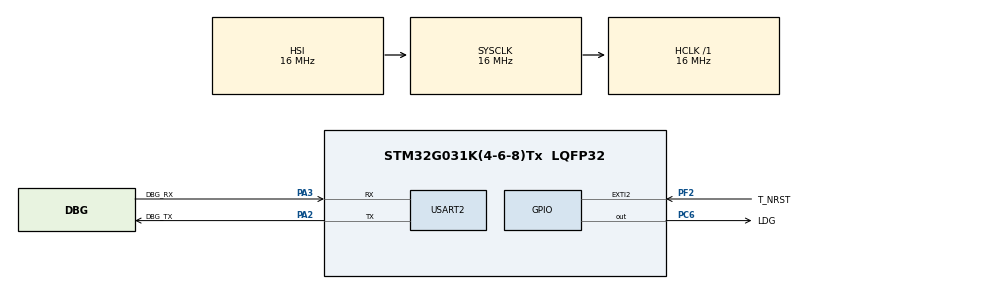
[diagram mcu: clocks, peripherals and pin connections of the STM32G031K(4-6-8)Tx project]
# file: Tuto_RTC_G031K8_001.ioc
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Mcu.Family=STM32G0
Mcu.Name=STM32G031K(4-6-8)Tx
Mcu.Package=LQFP32
NVIC.RTC_TAMP_IRQn=true\:0\:0\:false\:false\:true\:true\:true\:true
PA13.GPIO_Label=T_JTMS
PA13.Mode=Serial_Wire
PA13.Signal=SYS_SWDIO
PA14-BOOT0.GPIO_Label=T_JTCK
PA14-BOOT0.Mode=Serial_Wire
PA14-BOOT0.Signal=SYS_SWCLK
PA2.GPIO_Label=DBG_TX
PA2.GPIO_PuPd=GPIO_PULLUP
PA2.Mode=Asynchronous
PA2.Signal=USART2_TX
PA3.GPIO_Label=DBG_RX
PA3.GPIO_PuPd=GPIO_PULLUP
PA3.Mode=Asynchronous
PA3.Signal=USART2_RX
PC14-OSC32_IN\ (PC14).Mode=LSE-External-Oscillator
PC14-OSC32_IN\ (PC14).Signal=RCC_OSC32_IN
PC15-OSC32_OUT\ (PC15).Mode=LSE-External-Oscillator
PC15-OSC32_OUT\ (PC15).Signal=RCC_OSC32_OUT
PC6.GPIO_Label=LDG
PC6.Signal=GPIO_Output
PF2\ -\ NRST.GPIO_Label=T_NRST
PF2\ -\ NRST.Signal=GPXTI2
ProjectManager.HeapSize=0x200
ProjectManager.StackSize=0x400
ProjectManager.TargetToolchain=STM32CubeIDE
RCC.AHBFreq_Value=16000000
RCC.CortexFreq_Value=16000000
RCC.EXTERNAL_CLOCK_VALUE=12288000
RCC.HCLKFreq_Value=16000000
RCC.HSE_VALUE=8000000
RCC.HSI_VALUE=16000000
RCC.RTCClockSelection=RCC_RTCCLKSOURCE_LSE
RCC.SYSCLKFreq_VALUE=16000000
RCC.VCOOutputFreq_Value=128000000
RTC.Alarm-Alarm\ A=RTC_ALARM_A
RTC.AlarmDateWeekDay-Alarm\ A=1
RTC.Format=RTC_FORMAT_BIN
RTC.Seconds_A-Alarm\ A=10
RTC.WeekDay=RTC_WEEKDAY_SATURDAY
USART2.VirtualMode-Asynchronous=VM_ASYNC
USART2.WordLength=WORDLENGTH_8B
VP_RTC_VS_RTC_Activate.Mode=RTC_Enabled
VP_RTC_VS_RTC_Alarm_A_Intern.Mode=Alarm A
VP_RTC_VS_RTC_Calendar.Mode=RTC_Calendar
board=NUCLEO-G031K8

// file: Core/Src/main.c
/* USER CODE BEGIN Header */
/**
  ******************************************************************************
  * @file           : main.c
  * @brief          : Main program body
  ******************************************************************************
  * @attention
  *
  * Copyright (c) 2023 STMicroelectronics.
  * All rights reserved.
  *
  * This software is licensed under terms that can be found in the LICENSE file
  * in the root directory of this software component.
  * If no LICENSE file comes with this software, it is provided AS-IS.
  *
  ******************************************************************************
  */
/* USER CODE END Header */
#include "main.h"

RTC_HandleTypeDef hrtc;

UART_HandleTypeDef huart2;

/* USER CODE BEGIN PV */
char* 		hello = "\nHello Tuto_RTC_G031k8_001\n\n" ;
char		rtc_dt_s[20] ;
RTC_AlarmTypeDef	b ;
/* USER CODE END PV */

void SystemClock_Config(void);
static void MX_GPIO_Init(void);
static void MX_USART2_UART_Init(void);
static void MX_RTC_Init(void);
/* USER CODE BEGIN PFP */
bool  RTC_AlarmConfig ( void ) ;

/* USER CODE END PFP */

int main(void)
{

  /* MCU Configuration--------------------------------------------------------*/

  /* Reset of all peripherals, Initializes the Flash interface and the Systick. */
  HAL_Init();

  /* Configure the system clock */
  SystemClock_Config();

  /* Initialize all configured peripherals */
  MX_GPIO_Init();
  MX_USART2_UART_Init();
  MX_RTC_Init();
  /* USER CODE BEGIN 2 */
  // System hello
  HAL_UART_Transmit ( HUART_DBG , (uint8_t*) hello , strlen (hello) , UART_TIMEOUT ) ;

  HAL_Delay ( 1010 ) ; // just to be sure that RC is ticking

  my_rtc_get_dt_s ( rtc_dt_s ) ;
  send_debug_logs ( rtc_dt_s ) ;

  if ( my_rtc_set_alarm ( 30 ) )
  {
	  HAL_SuspendTick () ;
	  HAL_PWR_EnterSTOPMode ( PWR_MAINREGULATOR_ON , PWR_STOPENTRY_WFE ) ;
	  HAL_ResumeTick () ;

	  my_rtc_get_dt_s ( rtc_dt_s ) ;
	  send_debug_logs ( rtc_dt_s ) ;

	  send_debug_logs ( "Dupa" ) ;

	  my_rtc_get_dt_s ( rtc_dt_s ) ;
	  send_debug_logs ( rtc_dt_s ) ;
  }

  /* USER CODE END 2 */

  /* Infinite loop */
  while (1)
  {

  }
}

void SystemClock_Config(void)
{
  RCC_OscInitTypeDef RCC_OscInitStruct = {0};
  RCC_ClkInitTypeDef RCC_ClkInitStruct = {0};

  /** Configure the main internal regulator output voltage
  */
  HAL_PWREx_ControlVoltageScaling(PWR_REGULATOR_VOLTAGE_SCALE1);

  /** Configure LSE Drive Capability
  */
  HAL_PWR_EnableBkUpAccess();
  __HAL_RCC_LSEDRIVE_CONFIG(RCC_LSEDRIVE_LOW);

  /** Initializes the RCC Oscillators according to the specified parameters
  * in the RCC_OscInitTypeDef structure.
  */
  RCC_OscInitStruct.OscillatorType = RCC_OSCILLATORTYPE_HSI|RCC_OSCILLATORTYPE_LSE;
  RCC_OscInitStruct.LSEState = RCC_LSE_ON;
  RCC_OscInitStruct.HSIState = RCC_HSI_ON;
  RCC_OscInitStruct.HSIDiv = RCC_HSI_DIV1;
  RCC_OscInitStruct.HSICalibrationValue = RCC_HSICALIBRATION_DEFAULT;
  RCC_OscInitStruct.PLL.PLLState = RCC_PLL_NONE;
  if (HAL_RCC_OscConfig(&RCC_OscInitStruct) != HAL_OK)
  {
    Error_Handler();
  }

  /** Initializes the CPU, AHB and APB buses clocks
  */
  RCC_ClkInitStruct.ClockType = RCC_CLOCKTYPE_HCLK|RCC_CLOCKTYPE_SYSCLK
                              |RCC_CLOCKTYPE_PCLK1;
  RCC_ClkInitStruct.SYSCLKSource = RCC_SYSCLKSOURCE_HSI;
  RCC_ClkInitStruct.AHBCLKDivider = RCC_SYSCLK_DIV1;
  RCC_ClkInitStruct.APB1CLKDivider = RCC_HCLK_DIV1;

  if (HAL_RCC_ClockConfig(&RCC_ClkInitStruct, FLASH_LATENCY_0) != HAL_OK)
  {
    Error_Handler();
  }
}

static void MX_RTC_Init(void)
{

  RTC_TimeTypeDef sTime = {0};
  RTC_DateTypeDef sDate = {0};
  RTC_AlarmTypeDef sAlarm = {0};

  /** Initialize RTC Only
  */
  hrtc.Instance = RTC;
  hrtc.Init.HourFormat = RTC_HOURFORMAT_24;
  hrtc.Init.AsynchPrediv = 127;
  hrtc.Init.SynchPrediv = 255;
  hrtc.Init.OutPut = RTC_OUTPUT_DISABLE;
  hrtc.Init.OutPutRemap = RTC_OUTPUT_REMAP_NONE;
  hrtc.Init.OutPutPolarity = RTC_OUTPUT_POLARITY_HIGH;
  hrtc.Init.OutPutType = RTC_OUTPUT_TYPE_OPENDRAIN;
  hrtc.Init.OutPutPullUp = RTC_OUTPUT_PULLUP_NONE;
  if (HAL_RTC_Init(&hrtc) != HAL_OK)
  {
    Error_Handler();
  }

  /** Initialize RTC and set the Time and Date
  */
  sTime.Hours = 0;
  sTime.Minutes = 0;
  sTime.Seconds = 0;
  sTime.SubSeconds = 0;
  sTime.DayLightSaving = RTC_DAYLIGHTSAVING_NONE;
  sTime.StoreOperation = RTC_STOREOPERATION_RESET;
  if (HAL_RTC_SetTime(&hrtc, &sTime, RTC_FORMAT_BIN) != HAL_OK)
  {
    Error_Handler();
  }
  sDate.WeekDay = RTC_WEEKDAY_SATURDAY;
  sDate.Month = RTC_MONTH_JANUARY;
  sDate.Date = 1;
  sDate.Year = 0;

  if (HAL_RTC_SetDate(&hrtc, &sDate, RTC_FORMAT_BIN) != HAL_OK)
  {
    Error_Handler();
  }

  /** Enable the Alarm A
  */
  sAlarm.AlarmTime.Hours = 0;
  sAlarm.AlarmTime.Minutes = 0;
  sAlarm.AlarmTime.Seconds = 10;
  sAlarm.AlarmTime.SubSeconds = 0;
  sAlarm.AlarmTime.DayLightSaving = RTC_DAYLIGHTSAVING_NONE;
  sAlarm.AlarmTime.StoreOperation = RTC_STOREOPERATION_RESET;
  sAlarm.AlarmMask = RTC_ALARMMASK_NONE;
  sAlarm.AlarmSubSecondMask = RTC_ALARMSUBSECONDMASK_ALL;
  sAlarm.AlarmDateWeekDaySel = RTC_ALARMDATEWEEKDAYSEL_DATE;
  sAlarm.AlarmDateWeekDay = 1;
  sAlarm.Alarm = RTC_ALARM_A;
  if (HAL_RTC_SetAlarm_IT(&hrtc, &sAlarm, RTC_FORMAT_BIN) != HAL_OK)
  {
    Error_Handler();
  }

}

static void MX_USART2_UART_Init(void)
{

  huart2.Instance = USART2;
  huart2.Init.BaudRate = 115200;
  huart2.Init.WordLength = UART_WORDLENGTH_8B;
  huart2.Init.StopBits = UART_STOPBITS_1;
  huart2.Init.Parity = UART_PARITY_NONE;
  huart2.Init.Mode = UART_MODE_TX_RX;
  huart2.Init.HwFlowCtl = UART_HWCONTROL_NONE;
  huart2.Init.OverSampling = UART_OVERSAMPLING_16;
  huart2.Init.OneBitSampling = UART_ONE_BIT_SAMPLE_DISABLE;
  huart2.Init.ClockPrescaler = UART_PRESCALER_DIV1;
  huart2.AdvancedInit.AdvFeatureInit = UART_ADVFEATURE_NO_INIT;
  if (HAL_UART_Init(&huart2) != HAL_OK)
  {
    Error_Handler();
  }

}

static void MX_GPIO_Init(void)
{
  GPIO_InitTypeDef GPIO_InitStruct = {0};

  /* GPIO Ports Clock Enable */
  __HAL_RCC_GPIOC_CLK_ENABLE();
  __HAL_RCC_GPIOF_CLK_ENABLE();
  __HAL_RCC_GPIOA_CLK_ENABLE();

  /*Configure GPIO pin Output Level */
  HAL_GPIO_WritePin(LDG_GPIO_Port, LDG_Pin, GPIO_PIN_RESET);

  /*Configure GPIO pin : T_NRST_Pin */
  GPIO_InitStruct.Pin = T_NRST_Pin;
  GPIO_InitStruct.Mode = GPIO_MODE_IT_RISING;
  GPIO_InitStruct.Pull = GPIO_NOPULL;
  HAL_GPIO_Init(T_NRST_GPIO_Port, &GPIO_InitStruct);

  /*Configure GPIO pin : LDG_Pin */
  GPIO_InitStruct.Pin = LDG_Pin;
  GPIO_InitStruct.Mode = GPIO_MODE_OUTPUT_PP;
  GPIO_InitStruct.Pull = GPIO_NOPULL;
  GPIO_InitStruct.Speed = GPIO_SPEED_FREQ_LOW;
  HAL_GPIO_Init(LDG_GPIO_Port, &GPIO_InitStruct);

}

/* USER CODE BEGIN 4 */
void send_debug_logs ( char* p_tx_buffer )
{
    uint32_t length = strlen ( p_tx_buffer ) ;

    if ( length > UART_TX_MAX_BUFF_SIZE )
    {
        HAL_UART_Transmit ( HUART_DBG , ( uint8_t* ) "[ERROR] UART buffer reached max length.\n" , 42 , 1000 ) ;
        length = UART_TX_MAX_BUFF_SIZE;
    }

    HAL_UART_Transmit ( HUART_DBG , ( uint8_t* ) p_tx_buffer , length , 1000 ) ;
    HAL_UART_Transmit ( HUART_DBG , ( uint8_t* ) "\n" , 1 , 1000 ) ;
}

void HAL_RTC_AlarmAEventCallback ( RTC_HandleTypeDef *hrtc )
{
	send_debug_logs ( "HAL_RTC_AlarmAEventCallback\n" ) ;
}
/* USER CODE END 4 */

void Error_Handler(void)
{
  __disable_irq();
  while (1)
  {
  }
}
